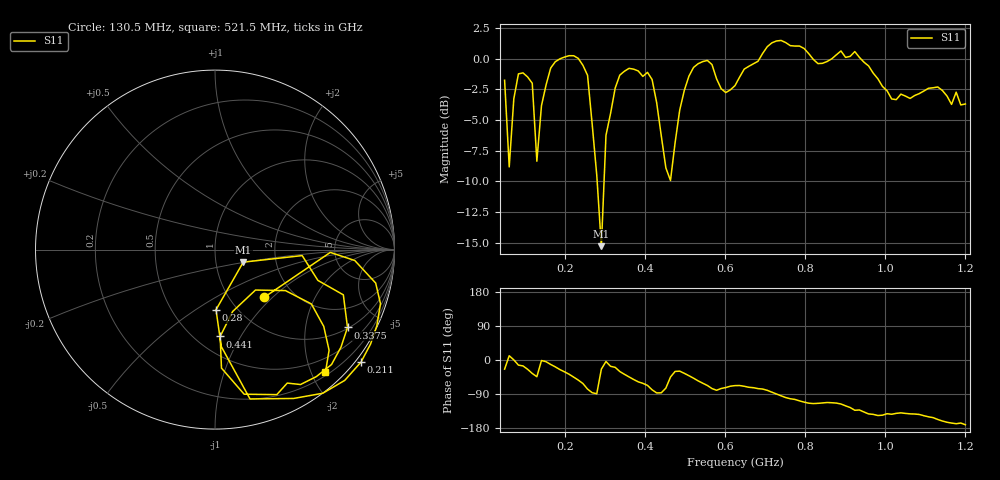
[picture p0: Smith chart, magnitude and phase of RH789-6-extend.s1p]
# HZ S RI R 50
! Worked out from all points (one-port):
!   101 points, 50 MHz to 1.2 GHz, reference 50 ohm
!   lowest |S11| = -15.3 dB at 291.5 MHz (marker M1), VSWR 1.42, Z = 67.9 - j9.79 ohm
!   |S11| at or under -10 dB: 281 MHz to 298.2 MHz (17.22 MHz wide, 5.95 % of centre)
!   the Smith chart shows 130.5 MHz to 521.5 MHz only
!   S11 on the Smith chart (normalised r, x): 130.5 MHz: 1.43, -0.89; 211 MHz: -0.13, -2.93; 280 MHz: 0.81, -0.61; 337.5 MHz: 1.04, -3.38; 441 MHz: 0.65, -0.82; 521.5 MHz: 0.25, -2.22
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5e7  0.7446 -0.3327
6.15e7  0.3552 0.0704
7.3e7  0.686 0.00315
9.6e7  0.8414 -0.2362
1.19e8  0.6452 -0.4609
1.305e8  0.2746 -0.2655
1.42e8  0.6424 -0.0156
1.65e8  0.8953 -0.1866
1.995e8  0.8668 -0.5259
2.11e8  0.8133 -0.6268
2.57e8  0.1952 -0.8322
2.8e8  0.00558 -0.3351
2.915e8  0.1574 -0.07
3.03e8  0.4858 -0.0335
3.375e8  0.7382 -0.4335
4.065e8  0.3443 -0.8081
4.41e8  0.0287 -0.4838
4.64e8  0.2256 -0.2254
4.87e8  0.537 -0.3028
5.215e8  0.6154 -0.6834
5.79e8  0.1457 -0.814
6.25e8  0.2958 -0.7172
6.94e8  0.2424 -1.02
7.745e8  -0.2734 -1.09
9.125e8  -0.5926 -0.8308
9.815e8  -0.6895 -0.4573
1.062e9  -0.5433 -0.4221
1.2e9  -0.6448 -0.1038
